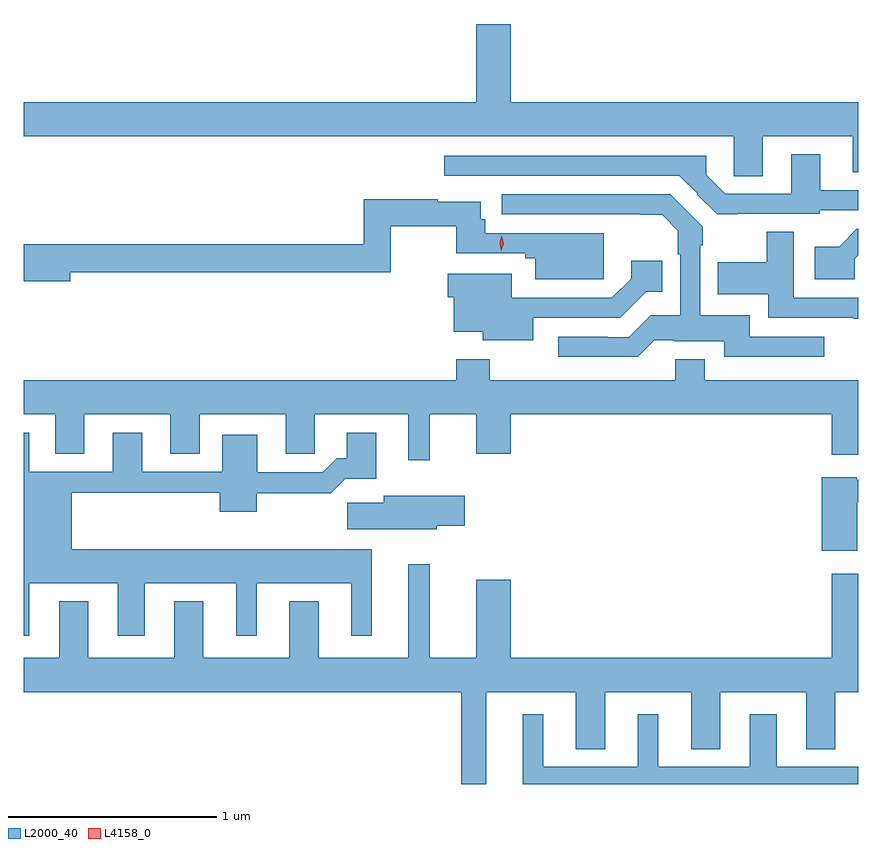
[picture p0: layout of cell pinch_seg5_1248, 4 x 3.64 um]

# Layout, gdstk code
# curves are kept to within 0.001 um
import gdstk
lib = gdstk.Library(unit=1e-6, precision=1e-09)
def P(c, l, *ps):  # polygons
    for p in ps: c.add(gdstk.Polygon(p, *l))
L2000_40 = (2000, 40)
L4158_0 = (4158, 0)

pinch_seg5_1248 = lib.new_cell('pinch_seg5_1248')
P(pinch_seg5_1248, L2000_40, [(478.069,858.092),(478.499,858.092),(478.499,857.92),(478.526,857.92),(478.526,858.256),(476.86,858.256),(476.86,858.631),(476.696,858.631),(476.696,858.256),(474.526,858.256),(474.526,858.092),(477.93,858.092),(477.93,857.902),(478.069,857.902)],
  [(477.949,857.721),(478.341,857.721),(478.341,857.739),(478.526,857.739),(478.526,857.835),(478.345,857.835),(478.345,858.007),(478.205,858.007),(478.205,857.817),(477.888,857.817),(477.798,857.908),(477.798,858),(476.541,858),(476.541,857.904),(477.669,857.904),(477.754,857.819),(477.751,857.816),(477.849,857.719),(477.949,857.719)],
  [(477.549,857.115),(477.643,857.115),(477.643,857.111),(477.884,857.111),(477.884,857.037),(478.363,857.037),(478.363,857.133),(478.006,857.133),(478.006,857.236),(477.768,857.236),(477.768,857.57),(477.781,857.57),(477.781,857.659),(477.625,857.814),(476.817,857.814),(476.817,857.719),(477.482,857.718),(477.482,857.716),(477.586,857.716),(477.662,857.64),(477.662,857.528),(477.672,857.528),(477.672,857.235),(477.531,857.235),(477.426,857.13),(477.326,857.13),(477.326,857.133),(477.087,857.133),(477.087,857.036),(477.47,857.036)],
  [(474.748,857.44),(476.284,857.44),(476.284,857.662),(476.599,857.662),(476.599,857.532),(476.931,857.532),(476.931,857.507),(476.978,857.507),(476.978,857.408),(477.307,857.408),(477.307,857.629),(477.031,857.629),(477.031,857.628),(476.739,857.628),(476.739,857.694),(476.716,857.694),(476.716,857.778),(476.51,857.778),(476.51,857.791),(476.155,857.791),(476.155,857.576),(474.526,857.576),(474.526,857.398),(474.748,857.398)],
  [(478.509,857.505),(478.526,857.522),(478.526,857.649),(478.52,857.649),(478.434,857.563),(478.317,857.563),(478.317,857.408),(478.509,857.408)],
  [(478.526,857.319),(478.216,857.319),(478.216,857.636),(478.087,857.636),(478.087,857.488),(477.853,857.488),(477.853,857.336),(478.094,857.336),(478.094,857.223),(478.502,857.223),(478.502,857.218),(478.526,857.218)],
  [(476.968,857.223),(477.385,857.223),(477.51,857.348),(477.587,857.348),(477.587,857.497),(477.437,857.497),(477.437,857.411),(477.345,857.319),(476.866,857.319),(476.866,857.434),(476.558,857.434),(476.558,857.32),(476.588,857.32),(476.588,857.156),(476.726,857.156),(476.726,857.114),(476.968,857.114)],
  [(476.473,856.76),(476.696,856.76),(476.696,856.572),(476.86,856.572),(476.86,856.76),(478.4,856.76),(478.4,856.566),(478.526,856.566),(478.526,856.924),(477.79,856.924),(477.79,857.023),(477.65,857.023),(477.65,856.924),(476.76,856.924),(476.76,857.023),(476.6,857.023),(476.6,856.924),(474.526,856.924),(474.526,856.76),(474.677,856.76),(474.677,856.57),(474.817,856.57),(474.817,856.76),(475.229,856.76),(475.229,856.57),(475.369,856.57),(475.369,856.76),(475.781,856.76),(475.781,856.57),(475.92,856.57),(475.92,856.76),(476.369,856.76),(476.369,856.539),(476.473,856.539)],
  [(474.553,855.95),(474.977,855.95),(474.977,855.699),(475.105,855.699),(475.105,855.95),(475.544,855.95),(475.544,855.699),(475.642,855.699),(475.642,855.95),(476.096,855.95),(476.096,855.699),(476.194,855.699),(476.194,856.114),(474.757,856.114),(474.757,856.384),(475.466,856.384),(475.466,856.292),(475.644,856.292),(475.644,856.382),(475.997,856.382),(476.066,856.451),(476.215,856.451),(476.215,856.672),(476.075,856.672),(476.075,856.549),(476.026,856.549),(475.959,856.482),(475.645,856.482),(475.645,856.663),(475.478,856.663),(475.478,856.485),(475.093,856.485),(475.093,856.672),(474.953,856.672),(474.953,856.485),(474.553,856.485),(474.553,856.672),(474.526,856.672),(474.526,855.699),(474.553,855.699)],
  [(478.522,856.338),(478.526,856.338),(478.526,856.446),(478.518,856.446),(478.518,856.459),(478.352,856.459),(478.352,856.107),(478.522,856.107)],
  [(476.506,856.226),(476.641,856.226),(476.641,856.369),(476.252,856.369),(476.252,856.337),(476.076,856.337),(476.076,856.208),(476.506,856.208)],
  [(476.743,855.428),(477.173,855.428),(477.173,855.155),(477.313,855.155),(477.313,855.428),(477.725,855.428),(477.725,855.155),(477.865,855.155),(477.865,855.428),(478.277,855.428),(478.277,855.155),(478.417,855.155),(478.417,855.428),(478.526,855.428),(478.526,855.997),(478.4,855.997),(478.4,855.592),(476.86,855.592),(476.86,855.967),(476.696,855.967),(476.696,855.592),(476.473,855.592),(476.473,856.042),(476.369,856.042),(476.369,855.592),(475.939,855.592),(475.939,855.865),(475.799,855.865),(475.799,855.592),(475.387,855.592),(475.387,855.865),(475.247,855.865),(475.247,855.592),(474.835,855.592),(474.835,855.865),(474.695,855.865),(474.695,855.592),(474.526,855.592),(474.526,855.428),(476.622,855.428),(476.622,854.988),(476.743,854.988)],
  [(478.526,855.07),(478.135,855.07),(478.135,855.322),(478.007,855.322),(478.007,855.07),(477.568,855.07),(477.568,855.322),(477.47,855.322),(477.47,855.07),(477.016,855.07),(477.016,855.322),(476.918,855.322),(476.918,854.988),(478.526,854.988)])
P(pinch_seg5_1248, L4158_0, [(476.816,857.542),(476.816,857.543),(476.807,857.579),(476.818,857.615),(476.818,857.615),(476.818,857.615),(476.827,857.578),(476.816,857.543)])

lib.write_gds('pinch_seg5_1248.gds')
